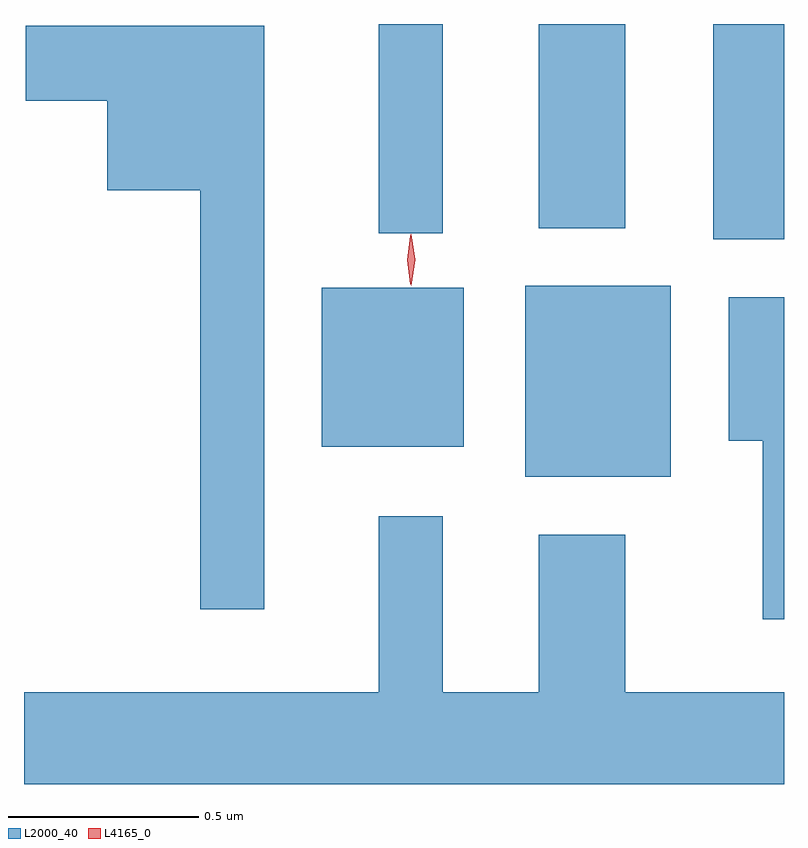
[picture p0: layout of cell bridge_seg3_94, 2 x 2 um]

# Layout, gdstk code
import gdstk
lib = gdstk.Library(unit=1e-6, precision=1e-09)
def R(c, l, rs):  # rectangles x0, y0, x1, y1
    for r in rs: c.add(gdstk.rectangle(r[:2], r[2:], *l))
def P(c, l, *ps):  # polygons
    for p in ps: c.add(gdstk.Polygon(p, *l))
L2000_40 = (2000, 40)
L4165_0 = (4165, 0)

bridge_seg3_94 = lib.new_cell('bridge_seg3_94')
R(bridge_seg3_94, L2000_40, [(1178.396,1122.411,1178.779,1122.914), (1177.861,1122.491,1178.234,1122.909), (1178.891,1123.036,1179.077,1123.603), (1178.011,1123.053,1178.179,1123.603), (1178.431,1123.066,1178.659,1123.603)])
P(bridge_seg3_94, L2000_40, [(1177.709,1123.599),(1177.081,1123.599),(1177.081,1123.401),(1177.296,1123.401),(1177.296,1123.166),(1177.541,1123.166),(1177.541,1122.063),(1177.709,1122.063)],
  [(1179.077,1122.884),(1178.931,1122.884),(1178.931,1122.506),(1179.021,1122.506),(1179.021,1122.036),(1179.077,1122.036)],
  [(1179.077,1121.844),(1178.659,1121.844),(1178.659,1122.259),(1178.431,1122.259),(1178.431,1121.844),(1178.179,1121.844),(1178.179,1122.308),(1178.011,1122.308),(1178.011,1121.844),(1177.077,1121.844),(1177.077,1121.603),(1179.077,1121.603)])
P(bridge_seg3_94, L4165_0, [(1178.094,1122.918),(1178.085,1122.982),(1178.094,1123.046),(1178.095,1123.047),(1178.096,1123.046),(1178.105,1122.982),(1178.096,1122.918),(1178.095,1122.918)],
  [(1178.096,1122.914),(1178.096,1122.914),(1178.086,1122.982),(1178.095,1123.05),(1178.096,1123.05),(1178.096,1123.05),(1178.106,1122.982),(1178.096,1122.914)])

lib.write_gds('bridge_seg3_94.gds')
